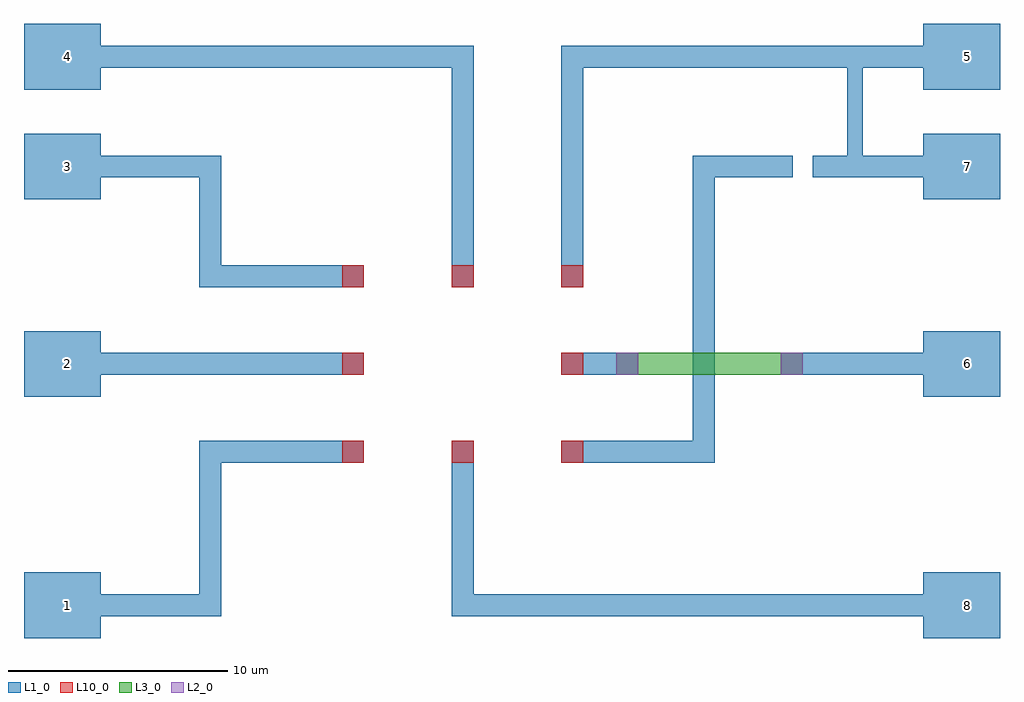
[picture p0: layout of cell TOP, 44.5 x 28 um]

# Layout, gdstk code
import gdstk
lib = gdstk.Library(unit=1e-6, precision=1e-09)
def R(c, l, rs):  # rectangles x0, y0, x1, y1
    for r in rs: c.add(gdstk.rectangle(r[:2], r[2:], *l))
def A(c, l, x, y, w, h, nx, ny, dx, dy):  # array of equal rectangles
    R(c, l, [(x+i*dx, y+j*dy, x+i*dx+w, y+j*dy+h) for i in range(nx) for j in range(ny)])
def P(c, l, *ps):  # polygons
    for p in ps: c.add(gdstk.Polygon(p, *l))
L1_0 = (1, 0)
L2_0 = (2, 0)
L3_0 = (3, 0)
L10_0 = (10, 0)

chip = lib.new_cell('CHIP')
A(chip, L10_0, -4, -6, 1, 1, 3, 2, 5, 8)
R(chip, L10_0, [(-4,-2,-3,-1), (6,-2,7,-1)])
chip.add(gdstk.Label('pad1', (-3.5,-5.5), layer=10, texttype=0))
chip.add(gdstk.Label('pad2', (-3.5,-1.5), layer=10, texttype=0))
chip.add(gdstk.Label('pad3', (-3.5,2.5), layer=10, texttype=0))
chip.add(gdstk.Label('pad4', (1.5,2.5), layer=10, texttype=0))
chip.add(gdstk.Label('pad5', (6.5,2.5), layer=10, texttype=0))
chip.add(gdstk.Label('pad6', (6.5,-1.5), layer=10, texttype=0))
chip.add(gdstk.Label('pad7', (6.5,-5.5), layer=10, texttype=0))
chip.add(gdstk.Label('pad8', (1.5,-5.5), layer=10, texttype=0))

top = lib.new_cell('TOP')
R(top, L1_0, [(-18.5,-14,-15,-11), (22.5,-14,26,-11), (-18.5,-3,-15,0), (22.5,-3,26,0), (-18.5,6,-15,9), (22.5,6,26,9), (17.47,7,23,8), (19.04,7.55,19.74,12.5), (-18.5,11,-15,14), (22.5,11,26,14)])
P(top, L1_0, [(6,-6),(6,-5),(12,-5),(12,8),(16.55,8),(16.55,7),(13,7),(13,-6)])
R(top, L2_0, [(8.5,-2,9.5,-1), (16,-2,17,-1)])
A(top, L10_0, -4, -6, 1, 1, 3, 2, 5, 8)
R(top, L10_0, [(-4,-2,-3,-1), (6,-2,7,-1)])
top.add(gdstk.FlexPath([(-3.5,2.5),(-10,2.5),(-10,7.5),(-15,7.5)], 1, ends="extended", simple_path=True, layer=1, datatype=0))  # L1_0
top.add(gdstk.FlexPath([(1.5,2.5),(1.5,12),(1.5,12.5),(-15,12.5)], 1, ends="extended", simple_path=True, layer=1, datatype=0))  # L1_0
top.add(gdstk.FlexPath([(-3.5,-1.5),(-15,-1.5)], 1, ends="extended", simple_path=True, layer=1, datatype=0))  # L1_0
top.add(gdstk.FlexPath([(-3.5,-5.5),(-10,-5.5),(-10,-12.5),(-15,-12.5)], 1, ends="extended", simple_path=True, layer=1, datatype=0))  # L1_0
top.add(gdstk.FlexPath([(1.5,-5.5),(1.5,-12.5),(22.5,-12.5)], 1, ends="extended", simple_path=True, layer=1, datatype=0))  # L1_0
top.add(gdstk.FlexPath([(6.5,2.5),(6.5,12.5),(22.5,12.5)], 1, ends="extended", simple_path=True, layer=1, datatype=0))  # L1_0
top.add(gdstk.FlexPath([(6.5,-1.5),(9,-1.5)], 1, ends="extended", simple_path=True, layer=1, datatype=0))  # L1_0
top.add(gdstk.FlexPath([(16.5,-1.5),(22.5,-1.5)], 1, ends="extended", simple_path=True, layer=1, datatype=0))  # L1_0
top.add(gdstk.FlexPath([(9,-1.5),(16.5,-1.5),(16.5,-1.5)], 1, ends="extended", simple_path=True, layer=3, datatype=0))  # L3_0
top.add(gdstk.Reference(chip, (0,0)))
top.add(gdstk.Label('4', (-16.5,12.5), layer=1, texttype=0))
top.add(gdstk.Label('3', (-16.5,7.5), layer=1, texttype=0))
top.add(gdstk.Label('1', (-16.5,-12.5), layer=1, texttype=0))
top.add(gdstk.Label('2', (-16.5,-1.5), layer=1, texttype=0))
top.add(gdstk.Label('5', (24.5,12.5), layer=1, texttype=0))
top.add(gdstk.Label('6', (24.5,-1.5), layer=1, texttype=0))
top.add(gdstk.Label('7', (24.5,7.5), layer=1, texttype=0))
top.add(gdstk.Label('8', (24.5,-12.5), layer=1, texttype=0))

lib.write_gds('TOP.gds')
